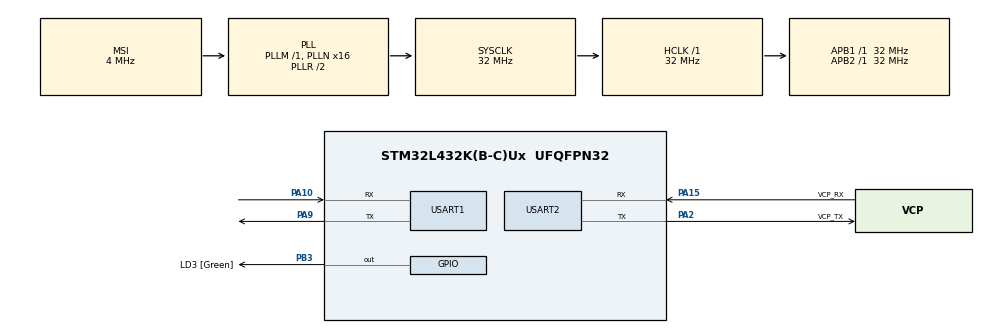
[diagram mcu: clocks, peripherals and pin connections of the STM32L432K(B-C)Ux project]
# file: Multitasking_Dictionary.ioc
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FREERTOS.Mutexes01=myMutex01,Dynamic,NULL
FREERTOS.Tasks01=defaultTask,0,128,StartDefaultTask,Default,NULL,Dynamic,NULL,NULL
FREERTOS.configUSE_COUNTING_SEMAPHORES=1
FREERTOS.configUSE_PREEMPTION=1
Mcu.Family=STM32L4
Mcu.Name=STM32L432K(B-C)Ux
Mcu.Package=UFQFPN32
NVIC.PriorityGroup=NVIC_PRIORITYGROUP_4
NVIC.TIM1_UP_TIM16_IRQn=true\:0\:0\:false\:false\:true\:false\:false\:true
NVIC.TimeBase=TIM1_UP_TIM16_IRQn
NVIC.TimeBaseIP=TIM1
NVIC.USART1_IRQn=true\:5\:0\:false\:false\:true\:true\:true\:true
NVIC.USART2_IRQn=true\:5\:0\:false\:false\:true\:true\:true\:true
PA0.GPIO_Label=MCO [High speed clock in]
PA0.Mode=HSE-External-Clock-Source-for-LittleOrca
PA0.Signal=RCC_CK_IN
PA10.Mode=Asynchronous
PA10.Signal=USART1_RX
PA13\ (JTMS-SWDIO).GPIO_Label=SWDIO
PA13\ (JTMS-SWDIO).Mode=Serial_Wire
PA13\ (JTMS-SWDIO).Signal=SYS_JTMS-SWDIO
PA14\ (JTCK-SWCLK).GPIO_Label=SWCLK
PA14\ (JTCK-SWCLK).Mode=Serial_Wire
PA14\ (JTCK-SWCLK).Signal=SYS_JTCK-SWCLK
PA15\ (JTDI).GPIO_Label=VCP_RX
PA15\ (JTDI).Mode=Asynchronous
PA15\ (JTDI).Signal=USART2_RX
PA2.GPIO_Label=VCP_TX
PA2.Mode=Asynchronous
PA2.Signal=USART2_TX
PA9.Mode=Asynchronous
PA9.Signal=USART1_TX
PB3\ (JTDO-TRACESWO).GPIO_Label=LD3 [Green]
PB3\ (JTDO-TRACESWO).Signal=GPIO_Output
PC14-OSC32_IN\ (PC14).Mode=LSE-External-Oscillator
PC14-OSC32_IN\ (PC14).Signal=RCC_OSC32_IN
PC15-OSC32_OUT\ (PC15).Mode=LSE-External-Oscillator
PC15-OSC32_OUT\ (PC15).Signal=RCC_OSC32_OUT
ProjectManager.HeapSize=0x200
ProjectManager.StackSize=0x400
ProjectManager.TargetToolchain=MDK-ARM V5
RCC.AHBFreq_Value=32000000
RCC.APB1Freq_Value=32000000
RCC.APB1TimFreq_Value=32000000
RCC.APB2Freq_Value=32000000
RCC.APB2TimFreq_Value=32000000
RCC.CortexFreq_Value=32000000
RCC.HCLKFreq_Value=32000000
RCC.HSE_VALUE=8000000
RCC.HSI16_VALUE=16000000
RCC.HSI48_VALUE=48000000
RCC.HSI_VALUE=16000000
RCC.MSI_VALUE=4000000
RCC.PLLMUL=RCC_PLLMUL_4
RCC.PLLN=16
RCC.SYSCLKFreq_VALUE=32000000
RCC.SYSCLKSource=RCC_SYSCLKSOURCE_PLLCLK
RCC.VCOOutputFreq_Value=64000000
USART1.VirtualMode-Asynchronous=VM_ASYNC
USART2.VirtualMode-Asynchronous=VM_ASYNC
VP_FREERTOS_VS_CMSIS_V1.Mode=CMSIS_V1
VP_SYS_VS_tim1.Mode=TIM1
board=NUCLEO-L432KC

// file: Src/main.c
/* USER CODE BEGIN Header */
/**
  ******************************************************************************
  * @file           : main.c
  * @brief          : Main program body
  ******************************************************************************
  * @attention
  *
  * <h2><center>&copy; Copyright (c) 2020 STMicroelectronics.
  * All rights reserved.</center></h2>
  *
  * This software component is licensed by ST under Ultimate Liberty license
  * SLA0044, the "License"; You may not use this file except in compliance with
  * the License. You may obtain a copy of the License at:
  *                             www.st.com/SLA0044
  *
  ******************************************************************************
  */
/* USER CODE END Header */

#include "main.h"
#include "cmsis_os.h"

/* USER CODE BEGIN Includes */
#include <stdlib.h>
#include <stdio.h>
#include <string.h>
#include "dict.h"
#include "cmd_queue.h"
/* USER CODE END Includes */

UART_HandleTypeDef huart1;
UART_HandleTypeDef huart2;

osThreadId defaultTaskHandle;
osMutexId cmdQueueLock;
/* USER CODE BEGIN PV */
osThreadId DictionaryManagerHandle;
uint8_t currentPkt[MAX_WORD_LENGTH+CMD_LENGTH+1];
Pkt_Queue * Pkt_buffer;
Dict_CMD_Queue * Dict_CMD_buffer;
Dictionary * wordDict;
uint8_t Tx_buffer[20];
/* USER CODE END PV */

void SystemClock_Config(void);
static void MX_GPIO_Init(void);
static void MX_USART1_UART_Init(void);
static void MX_USART2_UART_Init(void);
void StartDefaultTask(void const * argument);
void toUpper(char *str,size_t strSize);

/* USER CODE BEGIN PFP */
void DictionaryManagerTask(void const *arguments);
/* USER CODE END PFP */

/* USER CODE BEGIN 0 */
void UART_SEND(const char* literal, char* word, size_t wordSize) {
	toUpper(word,wordSize);
	snprintf((char*)Tx_buffer,wordSize+strlen(literal)+2,"%s%s",literal,word);
	Tx_buffer[strlen(literal)+wordSize] = (uint8_t)0x0A;
	HAL_UART_Transmit(&huart1,(uint8_t *)Tx_buffer,wordSize+strlen(literal)+1,100);
}

void toUpper(char *str,size_t strSize) {
	for (int i = 0; i < strSize; i++) {
		if (str[i] >= 97 && str[i] <= 122) str[i] = str[i] - 32;
	}
}
/* USER CODE END 0 */

int main(void)
{
  /* USER CODE BEGIN 1 */
	Pkt_buffer=(Pkt_Queue*)malloc(sizeof(Pkt_Queue));
	Pkt_Queue_Init(Pkt_buffer);
	Dict_CMD_buffer = (Dict_CMD_Queue*)malloc(sizeof(Dict_CMD_Queue));
	Dict_CMD_Queue_Init(Dict_CMD_buffer);
	wordDict = (Dictionary*)malloc(sizeof(Dictionary));
	initDict(wordDict);
  /* USER CODE END 1 */

  /* MCU Configuration--------------------------------------------------------*/

  /* Reset of all peripherals, Initializes the Flash interface and the Systick. */
  HAL_Init();

  /* Configure the system clock */
  SystemClock_Config();

  /* Initialize all configured peripherals */
  MX_GPIO_Init();
  MX_USART1_UART_Init();
  MX_USART2_UART_Init();
  /* Create the mutex(es) */
  /* definition and creation of myMutex01 */
  osMutexDef(myMutex01);
  cmdQueueLock = osMutexCreate(osMutex(myMutex01));

  /* Create the thread(s) */
  /* definition and creation of defaultTask */
  osThreadDef(defaultTask, StartDefaultTask, osPriorityNormal, 0, 128);
  defaultTaskHandle = osThreadCreate(osThread(defaultTask), NULL);
	osThreadDef(DictionaryManager, DictionaryManagerTask, osPriorityNormal, 0, 128);
  DictionaryManagerHandle = osThreadCreate(osThread(DictionaryManager), NULL);

  /* USER CODE BEGIN RTOS_THREADS */
  HAL_UART_Receive_IT(&huart1,(uint8_t*)currentPkt,1);
  /* USER CODE END RTOS_THREADS */

  /* Start scheduler */
  osKernelStart();

  /* We should never get here as control is now taken by the scheduler */

  /* Infinite loop */
  while (1)
  {

  }
}

void SystemClock_Config(void)
{
  RCC_OscInitTypeDef RCC_OscInitStruct = {0};
  RCC_ClkInitTypeDef RCC_ClkInitStruct = {0};
  RCC_PeriphCLKInitTypeDef PeriphClkInit = {0};

  /** Configure LSE Drive Capability
  */
  HAL_PWR_EnableBkUpAccess();
  __HAL_RCC_LSEDRIVE_CONFIG(RCC_LSEDRIVE_LOW);
  /** Initializes the CPU, AHB and APB busses clocks
  */
  RCC_OscInitStruct.OscillatorType = RCC_OSCILLATORTYPE_LSE|RCC_OSCILLATORTYPE_MSI;
  RCC_OscInitStruct.LSEState = RCC_LSE_ON;
  RCC_OscInitStruct.MSIState = RCC_MSI_ON;
  RCC_OscInitStruct.MSICalibrationValue = 0;
  RCC_OscInitStruct.MSIClockRange = RCC_MSIRANGE_6;
  RCC_OscInitStruct.PLL.PLLState = RCC_PLL_ON;
  RCC_OscInitStruct.PLL.PLLSource = RCC_PLLSOURCE_MSI;
  RCC_OscInitStruct.PLL.PLLM = 1;
  RCC_OscInitStruct.PLL.PLLN = 16;
  RCC_OscInitStruct.PLL.PLLP = RCC_PLLP_DIV7;
  RCC_OscInitStruct.PLL.PLLQ = RCC_PLLQ_DIV2;
  RCC_OscInitStruct.PLL.PLLR = RCC_PLLR_DIV2;
  if (HAL_RCC_OscConfig(&RCC_OscInitStruct) != HAL_OK)
  {
    Error_Handler();
  }
  /** Initializes the CPU, AHB and APB busses clocks
  */
  RCC_ClkInitStruct.ClockType = RCC_CLOCKTYPE_HCLK|RCC_CLOCKTYPE_SYSCLK
                              |RCC_CLOCKTYPE_PCLK1|RCC_CLOCKTYPE_PCLK2;
  RCC_ClkInitStruct.SYSCLKSource = RCC_SYSCLKSOURCE_PLLCLK;
  RCC_ClkInitStruct.AHBCLKDivider = RCC_SYSCLK_DIV1;
  RCC_ClkInitStruct.APB1CLKDivider = RCC_HCLK_DIV1;
  RCC_ClkInitStruct.APB2CLKDivider = RCC_HCLK_DIV1;

  if (HAL_RCC_ClockConfig(&RCC_ClkInitStruct, FLASH_LATENCY_1) != HAL_OK)
  {
    Error_Handler();
  }
  PeriphClkInit.PeriphClockSelection = RCC_PERIPHCLK_USART1|RCC_PERIPHCLK_USART2;
  PeriphClkInit.Usart1ClockSelection = RCC_USART1CLKSOURCE_PCLK2;
  PeriphClkInit.Usart2ClockSelection = RCC_USART2CLKSOURCE_PCLK1;
  if (HAL_RCCEx_PeriphCLKConfig(&PeriphClkInit) != HAL_OK)
  {
    Error_Handler();
  }
  /** Configure the main internal regulator output voltage
  */
  if (HAL_PWREx_ControlVoltageScaling(PWR_REGULATOR_VOLTAGE_SCALE1) != HAL_OK)
  {
    Error_Handler();
  }
  /** Enable MSI Auto calibration
  */
  HAL_RCCEx_EnableMSIPLLMode();
}

static void MX_USART1_UART_Init(void)
{

  huart1.Instance = USART1;
  huart1.Init.BaudRate = 115200;
  huart1.Init.WordLength = UART_WORDLENGTH_8B;
  huart1.Init.StopBits = UART_STOPBITS_1;
  huart1.Init.Parity = UART_PARITY_NONE;
  huart1.Init.Mode = UART_MODE_TX_RX;
  huart1.Init.HwFlowCtl = UART_HWCONTROL_NONE;
  huart1.Init.OverSampling = UART_OVERSAMPLING_16;
  huart1.Init.OneBitSampling = UART_ONE_BIT_SAMPLE_DISABLE;
  huart1.AdvancedInit.AdvFeatureInit = UART_ADVFEATURE_NO_INIT;
  if (HAL_UART_Init(&huart1) != HAL_OK)
  {
    Error_Handler();
  }

}

static void MX_USART2_UART_Init(void)
{

  huart2.Instance = USART2;
  huart2.Init.BaudRate = 115200;
  huart2.Init.WordLength = UART_WORDLENGTH_8B;
  huart2.Init.StopBits = UART_STOPBITS_1;
  huart2.Init.Parity = UART_PARITY_NONE;
  huart2.Init.Mode = UART_MODE_TX_RX;
  huart2.Init.HwFlowCtl = UART_HWCONTROL_NONE;
  huart2.Init.OverSampling = UART_OVERSAMPLING_16;
  huart2.Init.OneBitSampling = UART_ONE_BIT_SAMPLE_DISABLE;
  huart2.AdvancedInit.AdvFeatureInit = UART_ADVFEATURE_NO_INIT;
  if (HAL_UART_Init(&huart2) != HAL_OK)
  {
    Error_Handler();
  }

}

static void MX_GPIO_Init(void)
{
  GPIO_InitTypeDef GPIO_InitStruct = {0};

  /* GPIO Ports Clock Enable */
  __HAL_RCC_GPIOC_CLK_ENABLE();
  __HAL_RCC_GPIOA_CLK_ENABLE();
  __HAL_RCC_GPIOB_CLK_ENABLE();

  /*Configure GPIO pin Output Level */
  HAL_GPIO_WritePin(LD3_GPIO_Port, LD3_Pin, GPIO_PIN_RESET);

  /*Configure GPIO pin : LD3_Pin */
  GPIO_InitStruct.Pin = LD3_Pin;
  GPIO_InitStruct.Mode = GPIO_MODE_OUTPUT_PP;
  GPIO_InitStruct.Pull = GPIO_NOPULL;
  GPIO_InitStruct.Speed = GPIO_SPEED_FREQ_LOW;
  HAL_GPIO_Init(LD3_GPIO_Port, &GPIO_InitStruct);

}

/* USER CODE BEGIN 4 */

void HAL_UART_RxCpltCallback(UART_HandleTypeDef *huart) {
	if (huart==&huart1){ // if interrupt triggered form UART1
		// begin critical section for ISR
		UBaseType_t savedState = taskENTER_CRITICAL_FROM_ISR();
		uint8_t numBytes = currentPkt[0];
		HAL_UART_Receive(&huart1,(uint8_t *)currentPkt,numBytes,10);
		//HAL_UART_Transmit(&huart1,(uint8_t*)currentPkt,numBytes,10);
		UART_Pkt * newPkt = (UART_Pkt *)malloc(sizeof(UART_Pkt));
		for (int i = 0; i < numBytes; i++) {
			newPkt->data[i] = currentPkt[i];
		}
		newPkt->dataSize=numBytes;
		Pkt_Queue_Push(Pkt_buffer,newPkt);
		HAL_UART_Receive_IT(&huart1,(uint8_t*)currentPkt,1);

		// end critical section for ISR
		taskEXIT_CRITICAL_FROM_ISR(savedState);
	} else if (huart==&huart2){} // if interrupt triggered from UART2
}

void DictionaryManagerTask(void const *arguments) {
	while (1) {
		// wait for cmd buffer to have contents
		while (Dict_CMD_buffer->size == 0) {osSignalWait(0x01,10);}
		Dict_CMD * newCMD = Dict_CMD_Queue_Pop(Dict_CMD_buffer);
		INSTRUCT instruction = newCMD->instruction;
		uint8_t word[MAX_WORD_LENGTH+CMD_LENGTH];
		snprintf((char*)word,sizeof(word),"%s",newCMD->word);
		uint8_t wordSize = newCMD->wordSize;
		free(newCMD);

		// signal default task if cmd buffer was full
		if (Dict_CMD_buffer->capacity - Dict_CMD_buffer->size == 1)
			osSignalSet(defaultTaskHandle,0x02);

		if (instruction == INSERT) {
			if (addDict(wordDict,(char *)word,wordSize)) {
				UART_SEND("Added ",(char *)word,wordSize);
			} else {
				UART_SEND("Failed to add ",(char *)word,wordSize);
			}
		} else if (instruction == DELETE) {
			if (removeDict(wordDict,(char *)word,wordSize)){
				UART_SEND("Deleted ",(char *)word,wordSize);
			} else {
				UART_SEND("Failed to delete ",(char *)word,wordSize);
			}
		} else if (instruction == CHECK) {
			if (checkDict(wordDict,(char *)word,wordSize)) {
				UART_SEND("Found ",(char *)word,wordSize);
			} else {
				UART_SEND("Didn't find ",(char *)word,wordSize);
			}
		}
	}
}

/* USER CODE END 4 */

void StartDefaultTask(void const * argument)
{
  /* USER CODE BEGIN 5 */
  /* Infinite loop */

  for(;;)
  {
    while (Pkt_buffer->size > 0) {
			UART_Pkt * newPkt;
			taskENTER_CRITICAL(); // enter critical section, cannot be interrupted
			// cannot use lock for pkt buffer since ISR callback not a task,
			// must use critical section instead
			newPkt = Pkt_Queue_Pop(Pkt_buffer);
			taskEXIT_CRITICAL(); // exit critical section

			// allocate space for new command
			Dict_CMD * newCmd = (Dict_CMD*)malloc(sizeof(Dict_CMD));
			if (newPkt->error < 0) break;
			newCmd->wordSize = newPkt->dataSize-1;
			switch (newPkt->data[0]) {
				case 0:
					newCmd->instruction = INSERT;
					break;
				case 1:
					newCmd->instruction = DELETE;
					break;
				case 2:
					newCmd->instruction = CHECK;
					break;
				case 3:
					newCmd->instruction = EMPTY;
					break;
				case 4:
					newCmd->instruction = ERR;
					break;
				default:
					newCmd->instruction = ERR;
					break;
			}
			for (int i = 1; i < newPkt->dataSize; i++) {
				newCmd->word[i-1] = newPkt->data[i];
			}
			// wait in case buffer is full
			while (Dict_CMD_buffer->size == Dict_CMD_buffer->capacity)
				osSignalWait(0x02,10);
			Dict_CMD_Queue_Push(Dict_CMD_buffer,newCmd);
			free(newPkt);
		}
		osThreadYield();
  }
  /* USER CODE END 5 */
}

void HAL_TIM_PeriodElapsedCallback(TIM_HandleTypeDef *htim)
{
  if (htim->Instance == TIM1) {
    HAL_IncTick();
  }
}

void Error_Handler(void)
{
}

/************************ (C) COPYRIGHT STMicroelectronics *****END OF FILE****/
